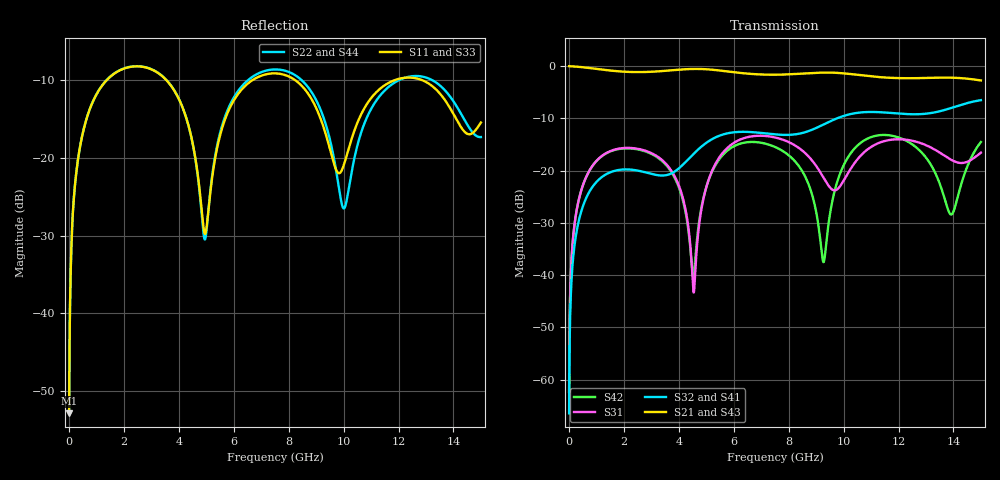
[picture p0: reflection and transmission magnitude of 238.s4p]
! Created with skrf 1.8.0 (http://scikit-rf.org).
# GHz S RI R 50.0
!freq ReS11 ImS11 ReS12 ImS12 ReS13 ImS13
! ReS14 ImS14
! ReS21 ImS21 ReS22 ImS22 ReS23 ImS23
! ReS24 ImS24
! ReS31 ImS31 ReS32 ImS32 ReS33 ImS33
! ReS34 ImS34
! ReS41 ImS41 ReS42 ImS42 ReS43 ImS43
! ReS44 ImS44
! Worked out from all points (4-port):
!   2499 points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, 5 MHz to 15 GHz, reference 50 ohm
!   strongest paths, dB at 5 MHz, 3.476 GHz, 7.19 GHz, 11.1 GHz, 15 GHz:
!     S21: 0.0, -0.9, -1.6, -2.0, -2.7
!     S43: 0.0, -0.9, -1.6, -2.0, -2.7
!     S32: -66.4, -20.9, -12.9, -8.8, -6.5
!     S41: -66.4, -21.0, -12.9, -8.8, -6.5
!     S31: -62.4, -18.4, -13.4, -15.2, -16.6
!     S42: -62.4, -18.6, -14.9, -13.4, -14.5
!   lowest |S11| = -52.9 dB at 5 MHz (marker M1), VSWR 1.00, Z = 50.2 + j0.137 ohm
!   |S11| at or under -10 dB: 3.553 GHz to 6.672 GHz (3.119 GHz wide, 61 % of centre); 8.244 GHz to 11.85 GHz (3.601 GHz wide, 35.9 % of centre); 12.87 GHz to end of sweep (the widest 3 of 4)
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0.005  0.00181 0.00137  0.9982 -0.00352  9.28e-05 0.000757  -8.98e-05 -0.000469
       0.9982 -0.00352  0.00181 0.00137  -8.98e-05 -0.000469  9.27e-05 0.000757
       9.28e-05 0.000757  -8.98e-05 -0.000469  0.00181 0.00137  0.9982 -0.00352
       -8.98e-05 -0.000469  9.27e-05 0.000757  0.9982 -0.00352  0.00181 0.00137
1.419341  0.2714 0.1754  0.5434 -0.7316  0.1366 0.0623  -0.0941 -0.00514
          0.5434 -0.7316  0.2724 0.1748  -0.0942 -0.00504  0.1336 0.0665
          0.1366 0.0623  -0.0942 -0.00504  0.2714 0.1755  0.5433 -0.7316
          -0.0941 -0.00514  0.1336 0.0665  0.5433 -0.7316  0.2725 0.1747
4.545644  0.0567 -0.0988  -0.8824 -0.3212  -0.00682 -9.58e-05  -0.0465 0.1378
          -0.8824 -0.3212  0.0536 -0.0996  -0.045 0.1383  -0.0101 0.000732
          -0.00682 -9.58e-05  -0.045 0.1383  0.0579 -0.1  -0.8821 -0.3213
          -0.0465 0.1378  -0.0101 0.000732  -0.8821 -0.3213  0.0535 -0.1012
7.571905  0.3499 -0.00728  -0.0627 0.825  0.1695 -0.1164  0.214 -0.0538
          -0.0627 0.825  0.3704 -0.0271  0.214 -0.0571  0.1616 -0.0347
          0.1695 -0.1164  0.214 -0.0571  0.3494 -0.00867  -0.0614 0.825
          0.214 -0.0538  0.1616 -0.0347  -0.0614 0.825  0.371 -0.0267
9.266361  0.1227 -0.1007  0.7095 0.4987  -0.059 -0.0627  0.1529 -0.2295
          0.7095 0.4987  0.1105 -0.1456  0.1488 -0.2324  0.0129 0.00321
          -0.059 -0.0627  0.1488 -0.2324  0.1222 -0.1035  0.7103 0.497
          0.1529 -0.2295  0.0129 0.00321  0.7103 0.497  0.1131 -0.1463
10.28554  0.1073 0.0758  0.836 -0.05  0.0147 0.1058  -0.0378 -0.3463
          0.836 -0.05  0.0627 0.0493  -0.044 -0.3462  0.0852 0.1232
          0.0147 0.1058  -0.044 -0.3462  0.1045 0.0722  0.836 -0.0523
          -0.0378 -0.3463  0.0852 0.1232  0.836 -0.0523  0.0659 0.047
15  0.1637 0.0421  -0.7135 -0.1506  -0.0534 0.1386  -0.087 0.4643
    -0.7135 -0.1506  0.1351 -0.0182  -0.0748 0.466  0.0277 0.1858
    -0.0534 0.1386  -0.0748 0.466  0.1641 0.0468  -0.7154 -0.139
    -0.087 0.4643  0.0277 0.1858  -0.7154 -0.139  0.1336 -0.00849
